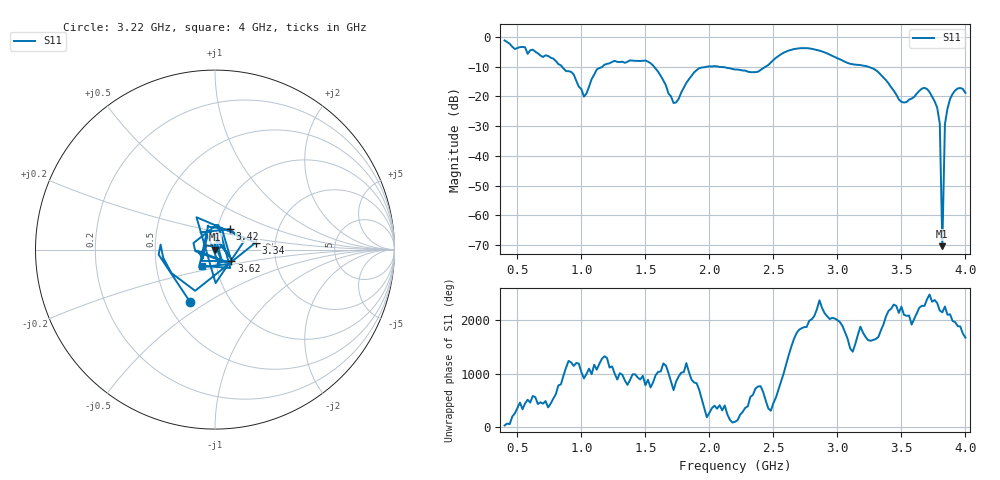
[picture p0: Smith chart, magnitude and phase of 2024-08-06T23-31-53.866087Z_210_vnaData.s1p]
!Created with skrf (http://scikit-rf.org).
# Hz S RI R 50.0
!freq ReS11 ImS11
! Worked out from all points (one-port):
!   181 points, 400 MHz to 4 GHz, reference 50 ohm
!   lowest |S11| = -70.4 dB at 3.82 GHz (marker M1), VSWR 1.00, Z = 50 - j0.00747 ohm
!   |S11| at or under -10 dB: 1.567 GHz to 1.985 GHz (418.4 MHz wide, 23.6 % of centre); 2.069 GHz to 2.44 GHz (371.3 MHz wide, 16.5 % of centre); 3.238 GHz to end of sweep (the widest 3 of 4)
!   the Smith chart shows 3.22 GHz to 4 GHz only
!   S11 on the Smith chart (normalised r, x): 3.22 GHz: 0.65, -0.42; 3.34 GHz: 1.58, +0.13; 3.42 GHz: 1.15, +0.27; 3.62 GHz: 1.19, -0.15; 4 GHz: 0.86, -0.16
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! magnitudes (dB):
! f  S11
! 400 MHz  -1.2
! 860 MHz  -10.6
! 940 MHz  -12.6
! 1.02 GHz  -20.1
! 1.12 GHz  -11.0
! 1.3 GHz  -8.5
! 1.54 GHz  -8.8
! 1.72 GHz  -22.2
! 1.76 GHz  -20.8
! 1.92 GHz  -10.5
! 2.2 GHz  -11.0
! 2.38 GHz  -11.7
! 2.66 GHz  -4.1
! 3.1 GHz  -9.1
! 3.22 GHz  -9.8
! 3.34 GHz  -12.8
! 3.42 GHz  -17.0
! 3.5 GHz  -21.8
! 3.56 GHz  -21.1
! 3.62 GHz  -19.1
! 3.7 GHz  -17.5
! 3.78 GHz  -23.9
! 3.8 GHz  -29.2
! 3.82 GHz  -70.4
! 3.84 GHz  -29.3
! 3.86 GHz  -24.1
! 3.9 GHz  -19.2
! 4 GHz  -18.8
